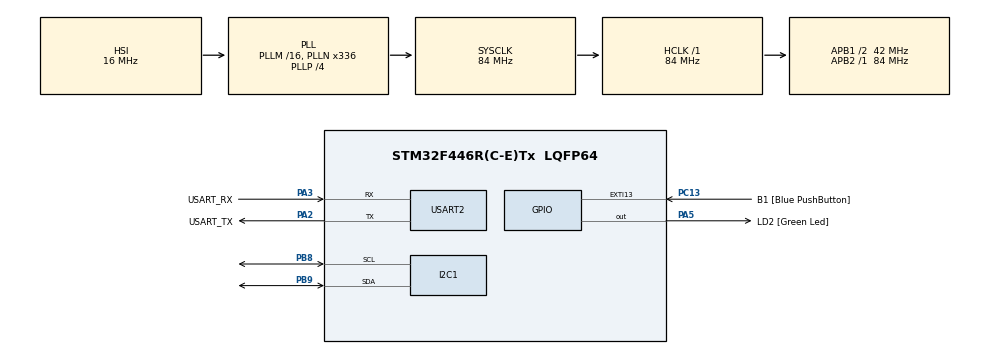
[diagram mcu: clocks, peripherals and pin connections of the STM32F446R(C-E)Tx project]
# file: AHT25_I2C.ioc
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I2C1.I2C_Mode=I2C_Fast
Mcu.Family=STM32F4
Mcu.Name=STM32F446R(C-E)Tx
Mcu.Package=LQFP64
NVIC.I2C1_ER_IRQn=true\:0\:0\:false\:false\:true\:true\:true\:true
NVIC.I2C1_EV_IRQn=true\:0\:0\:false\:false\:true\:true\:true\:true
NVIC.PriorityGroup=NVIC_PRIORITYGROUP_0
PA13.GPIO_Label=TMS
PA13.Mode=Serial_Wire
PA13.Signal=SYS_JTMS-SWDIO
PA14.GPIO_Label=TCK
PA14.Mode=Serial_Wire
PA14.Signal=SYS_JTCK-SWCLK
PA2.GPIO_Label=USART_TX
PA2.Mode=Asynchronous
PA2.Signal=USART2_TX
PA3.GPIO_Label=USART_RX
PA3.Mode=Asynchronous
PA3.Signal=USART2_RX
PA5.GPIO_Label=LD2 [Green Led]
PA5.Signal=GPIO_Output
PB3.GPIO_Label=SWO
PB3.Signal=SYS_JTDO-SWO
PB8.Mode=I2C
PB8.Signal=I2C1_SCL
PB9.Mode=I2C
PB9.Signal=I2C1_SDA
PC13.GPIO_Label=B1 [Blue PushButton]
PC13.GPIO_ModeDefaultEXTI=GPIO_MODE_IT_FALLING
PC13.Signal=GPXTI13
PC14-OSC32_IN.Mode=LSE-External-Oscillator
PC14-OSC32_IN.Signal=RCC_OSC32_IN
PC15-OSC32_OUT.Mode=LSE-External-Oscillator
PC15-OSC32_OUT.Signal=RCC_OSC32_OUT
PH0-OSC_IN.Mode=HSE-External-Oscillator
PH0-OSC_IN.Signal=RCC_OSC_IN
PH1-OSC_OUT.Mode=HSE-External-Oscillator
PH1-OSC_OUT.Signal=RCC_OSC_OUT
ProjectManager.HeapSize=0x200
ProjectManager.StackSize=0x400
ProjectManager.TargetToolchain=STM32CubeIDE
RCC.48MHZClocksFreq_Value=84000000
RCC.AHBFreq_Value=84000000
RCC.APB1CLKDivider=RCC_HCLK_DIV2
RCC.APB1Freq_Value=42000000
RCC.APB1TimFreq_Value=84000000
RCC.APB2Freq_Value=84000000
RCC.APB2TimFreq_Value=84000000
RCC.CortexFreq_Value=84000000
RCC.FLatency-AdvancedSettings=FLASH_LATENCY_2
RCC.HCLKFreq_Value=84000000
RCC.HSE_VALUE=8000000
RCC.HSI_VALUE=16000000
RCC.PLLN=336
RCC.PLLP=RCC_PLLP_DIV4
RCC.SYSCLKFreq_VALUE=84000000
RCC.SYSCLKSource=RCC_SYSCLKSOURCE_PLLCLK
RCC.USBFreq_Value=168000000
RCC.VCOOutputFreq_Value=336000000
USART2.VirtualMode=VM_ASYNC
board=NUCLEO-F446RE

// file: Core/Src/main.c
/* USER CODE BEGIN Header */
/**
  ******************************************************************************
  * @file           : main.c
  * @brief          : Main program body
  ******************************************************************************
  * @attention
  *
  * Copyright (c) 2023 STMicroelectronics.
  * All rights reserved.
  *
  * This software is licensed under terms that can be found in the LICENSE file
  * in the root directory of this software component.
  * If no LICENSE file comes with this software, it is provided AS-IS.
  *
  ******************************************************************************
  */
/* USER CODE END Header */
#include "main.h"

/* USER CODE BEGIN Includes */
#include "AHT25.h"
#include <string.h>
/* USER CODE END Includes */

I2C_HandleTypeDef hi2c1;

UART_HandleTypeDef huart2;

/* USER CODE BEGIN PV */
char buffer[128];

float buf1;
float buf2;
/* USER CODE END PV */

void SystemClock_Config(void);
static void MX_GPIO_Init(void);
static void MX_USART2_UART_Init(void);
static void MX_I2C1_Init(void);

int main(void)
{

  /* MCU Configuration--------------------------------------------------------*/

  /* Reset of all peripherals, Initializes the Flash interface and the Systick. */
  HAL_Init();

  /* Configure the system clock */
  SystemClock_Config();

  /* Initialize all configured peripherals */
  MX_GPIO_Init();
  MX_USART2_UART_Init();
  MX_I2C1_Init();
  /* USER CODE BEGIN 2 */
  AHT25_reset();
  HAL_Delay(100);
  AHT25_init();
  //AHT25_read_data();
  sprintf (buffer,"Interfacing AHT25\r\n");
  HAL_UART_Transmit(&huart2, (uint8_t*)buffer, strlen(buffer), 1000);
  /* USER CODE END 2 */

  /* Infinite loop */
  /* USER CODE BEGIN WHILE */
  while (1)
  {

		AHT25_read_data();

		buf1 = AHT25_temperature;
		buf2 = AHT25_relative_humidity;

		sprintf (buffer,"HUMIDITY:---->");
			 HAL_UART_Transmit(&huart2, (uint8_t*)buffer, strlen(buffer), 1000);
			 sprintf (buffer, "%.2f\r\n",AHT25_relative_humidity);
			 HAL_UART_Transmit(&huart2, buffer , 8, 1000);
			 HAL_Delay(1000);

			 sprintf (buffer,"TEMPERATURE:---->");
			 HAL_UART_Transmit(&huart2, (uint8_t*)buffer, strlen(buffer), 1000);
			 sprintf (buffer, "%.2f\r\n",AHT25_temperature);
			 HAL_UART_Transmit(&huart2, buffer , 8, 1000);
		 HAL_Delay(1000);
    /* USER CODE END WHILE */

  }
}

void SystemClock_Config(void)
{
  RCC_OscInitTypeDef RCC_OscInitStruct = {0};
  RCC_ClkInitTypeDef RCC_ClkInitStruct = {0};

  /** Configure the main internal regulator output voltage
  */
  __HAL_RCC_PWR_CLK_ENABLE();
  __HAL_PWR_VOLTAGESCALING_CONFIG(PWR_REGULATOR_VOLTAGE_SCALE3);

  /** Initializes the RCC Oscillators according to the specified parameters
  * in the RCC_OscInitTypeDef structure.
  */
  RCC_OscInitStruct.OscillatorType = RCC_OSCILLATORTYPE_HSI;
  RCC_OscInitStruct.HSIState = RCC_HSI_ON;
  RCC_OscInitStruct.HSICalibrationValue = RCC_HSICALIBRATION_DEFAULT;
  RCC_OscInitStruct.PLL.PLLState = RCC_PLL_ON;
  RCC_OscInitStruct.PLL.PLLSource = RCC_PLLSOURCE_HSI;
  RCC_OscInitStruct.PLL.PLLM = 16;
  RCC_OscInitStruct.PLL.PLLN = 336;
  RCC_OscInitStruct.PLL.PLLP = RCC_PLLP_DIV4;
  RCC_OscInitStruct.PLL.PLLQ = 2;
  RCC_OscInitStruct.PLL.PLLR = 2;
  if (HAL_RCC_OscConfig(&RCC_OscInitStruct) != HAL_OK)
  {
    Error_Handler();
  }

  /** Initializes the CPU, AHB and APB buses clocks
  */
  RCC_ClkInitStruct.ClockType = RCC_CLOCKTYPE_HCLK|RCC_CLOCKTYPE_SYSCLK
                              |RCC_CLOCKTYPE_PCLK1|RCC_CLOCKTYPE_PCLK2;
  RCC_ClkInitStruct.SYSCLKSource = RCC_SYSCLKSOURCE_PLLCLK;
  RCC_ClkInitStruct.AHBCLKDivider = RCC_SYSCLK_DIV1;
  RCC_ClkInitStruct.APB1CLKDivider = RCC_HCLK_DIV2;
  RCC_ClkInitStruct.APB2CLKDivider = RCC_HCLK_DIV1;

  if (HAL_RCC_ClockConfig(&RCC_ClkInitStruct, FLASH_LATENCY_2) != HAL_OK)
  {
    Error_Handler();
  }
}

static void MX_I2C1_Init(void)
{

  hi2c1.Instance = I2C1;
  hi2c1.Init.ClockSpeed = 400000;
  hi2c1.Init.DutyCycle = I2C_DUTYCYCLE_2;
  hi2c1.Init.OwnAddress1 = 0;
  hi2c1.Init.AddressingMode = I2C_ADDRESSINGMODE_7BIT;
  hi2c1.Init.DualAddressMode = I2C_DUALADDRESS_DISABLE;
  hi2c1.Init.OwnAddress2 = 0;
  hi2c1.Init.GeneralCallMode = I2C_GENERALCALL_DISABLE;
  hi2c1.Init.NoStretchMode = I2C_NOSTRETCH_DISABLE;
  if (HAL_I2C_Init(&hi2c1) != HAL_OK)
  {
    Error_Handler();
  }

}

static void MX_USART2_UART_Init(void)
{

  huart2.Instance = USART2;
  huart2.Init.BaudRate = 115200;
  huart2.Init.WordLength = UART_WORDLENGTH_8B;
  huart2.Init.StopBits = UART_STOPBITS_1;
  huart2.Init.Parity = UART_PARITY_NONE;
  huart2.Init.Mode = UART_MODE_TX_RX;
  huart2.Init.HwFlowCtl = UART_HWCONTROL_NONE;
  huart2.Init.OverSampling = UART_OVERSAMPLING_16;
  if (HAL_UART_Init(&huart2) != HAL_OK)
  {
    Error_Handler();
  }

}

static void MX_GPIO_Init(void)
{
  GPIO_InitTypeDef GPIO_InitStruct = {0};

  /* GPIO Ports Clock Enable */
  __HAL_RCC_GPIOC_CLK_ENABLE();
  __HAL_RCC_GPIOH_CLK_ENABLE();
  __HAL_RCC_GPIOA_CLK_ENABLE();
  __HAL_RCC_GPIOB_CLK_ENABLE();

  /*Configure GPIO pin Output Level */
  HAL_GPIO_WritePin(LD2_GPIO_Port, LD2_Pin, GPIO_PIN_RESET);

  /*Configure GPIO pin : B1_Pin */
  GPIO_InitStruct.Pin = B1_Pin;
  GPIO_InitStruct.Mode = GPIO_MODE_IT_FALLING;
  GPIO_InitStruct.Pull = GPIO_NOPULL;
  HAL_GPIO_Init(B1_GPIO_Port, &GPIO_InitStruct);

  /*Configure GPIO pin : LD2_Pin */
  GPIO_InitStruct.Pin = LD2_Pin;
  GPIO_InitStruct.Mode = GPIO_MODE_OUTPUT_PP;
  GPIO_InitStruct.Pull = GPIO_NOPULL;
  GPIO_InitStruct.Speed = GPIO_SPEED_FREQ_LOW;
  HAL_GPIO_Init(LD2_GPIO_Port, &GPIO_InitStruct);

}

void Error_Handler(void)
{
  __disable_irq();
  while (1)
  {
  }
}
